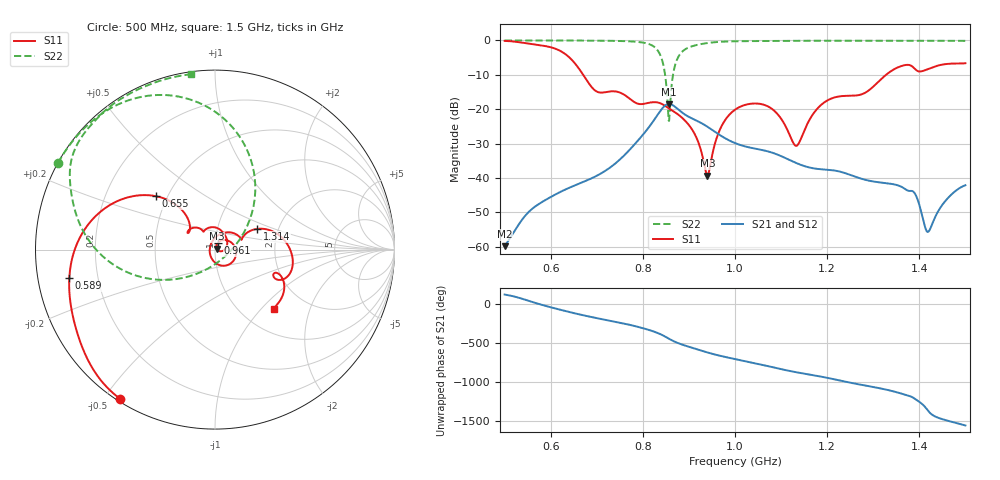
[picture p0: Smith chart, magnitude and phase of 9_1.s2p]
! TOUCHSTONE file generated by CST MICROWAVE STUDIO
! Date and time: Mon Oct 26 12:05:37 2020
! Project name: Scenario_1_Circular_Tissue_out_of_Line_v2.cst
! Parameters = {dy1=-207.6; L_HA=400; MT=2.54; Rad_Dielectric=30; Rad_Lower=7.3; Rad_Upper=30; a_HA=580; a_WG=246; b_HA=500; b_WG=121; c_HA=0; c_WG=187; d_feed=85; dx1=173; h_feed=15; h_lower=18; h_upper=40}
! Header version: 2018
! Port assignment regex: !\s*Touchstone port\s*([0-9]+)\s*=\s*(CST MWS port|CST DS port)\s*([0-9]+|Zmin|Zmax)\s*\(\"(.*)\"\)(\s*mode\s*([0-9]+))?.*
! Touchstone port assignment:
! Touchstone port 1 = CST MWS port 1 ("")
! Touchstone port 2 = CST MWS port 2 ("")
# GHz S DB R 50
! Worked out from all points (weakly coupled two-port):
!   1003 points, 500 MHz to 1.5 GHz, reference 50 ohm
!   highest |S21| = -18.47 dB at 857 MHz (marker M1); lowest = -59.8 dB at 500 MHz (marker M2)
!   lowest |S11| = -39.4 dB at 940 MHz (marker M3), VSWR 1.02, Z = 51 + j0.443 ohm
!   |S11| at or under -10 dB: 670.5 MHz to 1.328 GHz (657.2 MHz wide, 65.8 % of centre)
!   |S22| runs from -23.4 to 0.0 dB; largest |S21 - S12| = 3.7e-05
!   S11 on the Smith chart (normalised r, x): 500 MHz: 0.01, -0.55; 589 MHz: 0.10, -0.10; 655 MHz: 0.43, +0.32; 961 MHz: 1.03, +0.08; 1.314 GHz: 1.55, +0.38; 1.5 GHz: 1.41, -1.18
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0.5  -0.13 -122.6  -59.83 123.1  -59.83 123.1  -0.01 151.1
0.589  -1.65 -168.9  -46.37 -22.3  -46.37 -22.3  -0.02 144.9
0.655  -7.07 137.8  -42.02 -121.5  -42.02 -121.5  -0.04 139.5
0.667  -9.29 131.5  -41.36 -137.7  -41.36 -137.7  -0.04 138.4
0.781  -17.88 123.3  -30.39 81.7  -30.39 81.7  -0.34 120.1
0.834  -18.09 91.8  -21.26 -13.8  -21.26 -13.8  -3.27 81.7
0.846  -18.83 75.4  -19.21 -47.6  -19.21 -47.6  -8.10 55.2
0.857  -19.77 61.6  -18.47 -83.7  -18.47 -83.7  -23.41 -66.2
0.867  -20.63 48.9  -19.01 -114.7  -19.01 -114.7  -8.87 -152.3
0.879  -21.79 33.1  -20.31 -144.8  -20.31 -144.8  -4.32 -174.9
0.914  -27.60 -11.3  -23.15 148.3  -23.16 148.3  -1.42 159.8
0.94  -39.37 23.8  -25.09 101.7  -25.09 101.7  -0.76 152.0
0.961  -28.06 67.4  -26.98 68.3  -26.98 68.3  -0.46 147.1
1  -20.15 24.2  -29.85 17.0  -29.84 17.0  -0.25 140.3
1.074  -19.37 -55.4  -32.37 -77.1  -32.37 -77.1  -0.16 132.1
1.132  -30.64 179.0  -35.59 -150.9  -35.59 -150.9  -0.10 127.1
1.167  -21.89 78.5  -37.11 172.7  -37.11 172.7  -0.09 124.2
1.314  -11.66 26.2  -41.28 3.1  -41.28 3.1  -0.09 113.0
1.334  -9.35 17.0  -41.60 -22.6  -41.60 -22.6  -0.09 111.5
1.389  -8.09 -25.4  -44.25 -126.9  -44.25 -126.9  -0.09 107.3
1.419  -8.31 -21.0  -55.67 74.6  -55.68 74.6  -0.10 104.8
1.5  -6.62 -44.8  -42.10 -113.5  -42.10 -113.5  -0.13 97.9
